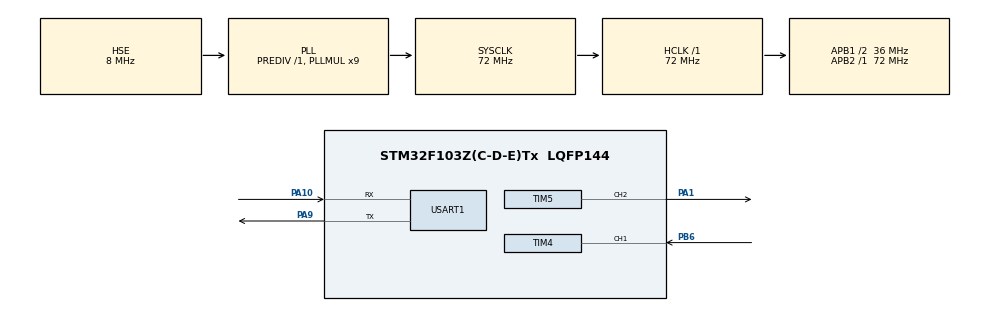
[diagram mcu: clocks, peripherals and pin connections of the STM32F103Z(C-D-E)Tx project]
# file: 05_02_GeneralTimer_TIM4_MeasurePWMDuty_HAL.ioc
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Mcu.Family=STM32F1
Mcu.Name=STM32F103Z(C-D-E)Tx
Mcu.Package=LQFP144
NVIC.PriorityGroup=NVIC_PRIORITYGROUP_4
NVIC.USART1_IRQn=true\:5\:0\:true\:false\:true\:true\:true\:true
OSC_IN.Mode=HSE-External-Oscillator
OSC_IN.Signal=RCC_OSC_IN
OSC_OUT.Mode=HSE-External-Oscillator
OSC_OUT.Signal=RCC_OSC_OUT
PA1.Signal=S_TIM5_CH2
PA10.Mode=Asynchronous
PA10.Signal=USART1_RX
PA13.Mode=Serial_Wire
PA13.Signal=SYS_JTMS-SWDIO
PA14.Mode=Serial_Wire
PA14.Signal=SYS_JTCK-SWCLK
PA9.Mode=Asynchronous
PA9.Signal=USART1_TX
PB6.Signal=S_TIM4_CH1
PC14-OSC32_IN.Mode=LSE-External-Oscillator
PC14-OSC32_IN.Signal=RCC_OSC32_IN
PC15-OSC32_OUT.Mode=LSE-External-Oscillator
PC15-OSC32_OUT.Signal=RCC_OSC32_OUT
ProjectManager.HeapSize=0x200
ProjectManager.StackSize=0x400
ProjectManager.TargetToolchain=MDK-ARM V5.32
RCC.AHBFreq_Value=72000000
RCC.APB1CLKDivider=RCC_HCLK_DIV2
RCC.APB1Freq_Value=36000000
RCC.APB1TimFreq_Value=72000000
RCC.APB2Freq_Value=72000000
RCC.APB2TimFreq_Value=72000000
RCC.HCLKFreq_Value=72000000
RCC.PLLMUL=RCC_PLL_MUL9
RCC.PLLSourceVirtual=RCC_PLLSOURCE_HSE
RCC.SYSCLKFreq_VALUE=72000000
RCC.SYSCLKSource=RCC_SYSCLKSOURCE_PLLCLK
RCC.USBFreq_Value=72000000
SH.S_TIM4_CH1.0=TIM4_CH1,Input_Capture1_from_TI1
SH.S_TIM4_CH1.1=TIM4_CH1,TriggerSource_TI1FP1
SH.S_TIM5_CH2.0=TIM5_CH2,PWM Generation2 CH2
TIM4.Channel-Input_Capture1_from_TI1=TIM_CHANNEL_1
TIM4.Channel-Input_Capture2_from_TI1_63=TIM_CHANNEL_2
TIM4.ICPolarity_CH2=TIM_INPUTCHANNELPOLARITY_FALLING
TIM4.Prescaler=71
TIM5.Channel-PWM\ Generation2\ CH2=TIM_CHANNEL_2
TIM5.OC2Preload_PWM=DISABLE
TIM5.Period=99
TIM5.Prescaler=719
USART1.VirtualMode=VM_ASYNC
VP_TIM4_VS_ClockSourceINT.Mode=Internal
VP_TIM4_VS_ControllerModeReset.Mode=Reset Mode
VP_TIM4_VS_indirect_ch1.Mode=Input_Capture2_from_TI1_63
VP_TIM5_VS_ClockSourceINT.Mode=Internal
board=custom

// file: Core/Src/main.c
/* USER CODE BEGIN Header */
/**
  ******************************************************************************
  * @file           : main.c
  * @brief          : Main program body
  ******************************************************************************
  * @attention
  *
  * Copyright (c) 2025 STMicroelectronics.
  * All rights reserved.
  *
  * This software is licensed under terms that can be found in the LICENSE file
  * in the root directory of this software component.
  * If no LICENSE file comes with this software, it is provided AS-IS.
  *
  ******************************************************************************
  */
/* USER CODE END Header */
#include "main.h"
#include "tim.h"
#include "usart.h"
#include "gpio.h"

/* USER CODE BEGIN PM */

// 函数原型:获取测到的 PWM 周期,单位 ms
double Get_PWM_Period(void);
// 函数原型:获取测到的 PWM 频率,单位 HZ
double Get_PWM_Freq(void);
// 函数原型:获取测到的 PWM 占空比,范围 0-1 的小数
double Get_PWM_Duty(void);

/* USER CODE END PM */

void SystemClock_Config(void);

int main(void)
{

  /* MCU Configuration--------------------------------------------------------*/

  /* Reset of all peripherals, Initializes the Flash interface and the Systick. */
  HAL_Init();

  /* Configure the system clock */
  SystemClock_Config();

  /* Initialize all configured peripherals */
  MX_GPIO_Init();
  MX_USART1_UART_Init();
  MX_TIM5_Init();
  MX_TIM4_Init();
  /* USER CODE BEGIN 2 */

  // 开启 TIM4_CH1 TIM4_CH2
  HAL_TIM_IC_Start(&htim4,TIM_CHANNEL_1);
  HAL_TIM_IC_Start(&htim4,TIM_CHANNEL_2);
  // 开启 TIM5 PWM 方波 周期T=1ms
  HAL_TIM_PWM_Start(&htim5,TIM_CHANNEL_2);

  printf("PWM F/f/duty HAL:");

  // 设置初始占空比
  // __HAL_TIM_SET_COMPARE() 用于设置定时器比较寄存器（Capture/Compare Register, CCR）的值
  __HAL_TIM_SET_COMPARE(&htim5,TIM_CHANNEL_2,35);

  /* USER CODE END 2 */

  /* Infinite loop */
  while (1)
  {

    /* USER CODE BEGIN 3 */
    HAL_Delay(2000);
    printf("PWM T:%.2lfms,f:%.2lfHZ,Duty:%.2lf",Get_PWM_Period(),Get_PWM_Freq(),Get_PWM_Duty());
  }
  /* USER CODE END 3 */
}

void SystemClock_Config(void)
{
  RCC_OscInitTypeDef RCC_OscInitStruct = {0};
  RCC_ClkInitTypeDef RCC_ClkInitStruct = {0};

  /** Initializes the RCC Oscillators according to the specified parameters
  * in the RCC_OscInitTypeDef structure.
  */
  RCC_OscInitStruct.OscillatorType = RCC_OSCILLATORTYPE_HSE;
  RCC_OscInitStruct.HSEState = RCC_HSE_ON;
  RCC_OscInitStruct.HSEPredivValue = RCC_HSE_PREDIV_DIV1;
  RCC_OscInitStruct.HSIState = RCC_HSI_ON;
  RCC_OscInitStruct.PLL.PLLState = RCC_PLL_ON;
  RCC_OscInitStruct.PLL.PLLSource = RCC_PLLSOURCE_HSE;
  RCC_OscInitStruct.PLL.PLLMUL = RCC_PLL_MUL9;
  if (HAL_RCC_OscConfig(&RCC_OscInitStruct) != HAL_OK)
  {
    Error_Handler();
  }

  /** Initializes the CPU, AHB and APB buses clocks
  */
  RCC_ClkInitStruct.ClockType = RCC_CLOCKTYPE_HCLK|RCC_CLOCKTYPE_SYSCLK
                              |RCC_CLOCKTYPE_PCLK1|RCC_CLOCKTYPE_PCLK2;
  RCC_ClkInitStruct.SYSCLKSource = RCC_SYSCLKSOURCE_PLLCLK;
  RCC_ClkInitStruct.AHBCLKDivider = RCC_SYSCLK_DIV1;
  RCC_ClkInitStruct.APB1CLKDivider = RCC_HCLK_DIV2;
  RCC_ClkInitStruct.APB2CLKDivider = RCC_HCLK_DIV1;

  if (HAL_RCC_ClockConfig(&RCC_ClkInitStruct, FLASH_LATENCY_2) != HAL_OK)
  {
    Error_Handler();
  }
}

/* USER CODE BEGIN 4 */

// 函数原型：获取测到的 PWM 周期，单位是 ms
double Get_PWM_Period(void)
{
  // __HAL_TIM_GET_COMPARE() 用于获取定时器比较寄存器（Capture/Compare Register, CCR）的值
  return (__HAL_TIM_GET_COMPARE(&htim4, TIM_CHANNEL_1) + 1) / 1000.0;
}
// 函数原型：获取测到 PWM 频率，单位是 Hz
double Get_PWM_Freq(void)
{
  return 1000.0 / Get_PWM_Period();
}
// 函数原型:获取测到的 PWM 占空比,范围 0-1 的小数
double Get_PWM_Duty(void)
{
  return ((__HAL_TIM_GET_COMPARE(&htim4,TIM_CHANNEL_2) + 1.0) / (__HAL_TIM_GET_COMPARE(&htim4,TIM_CHANNEL_1) + 1.0));
}

/* USER CODE END 4 */

void Error_Handler(void)
{
  __disable_irq();
  while (1)
  {
  }
}
